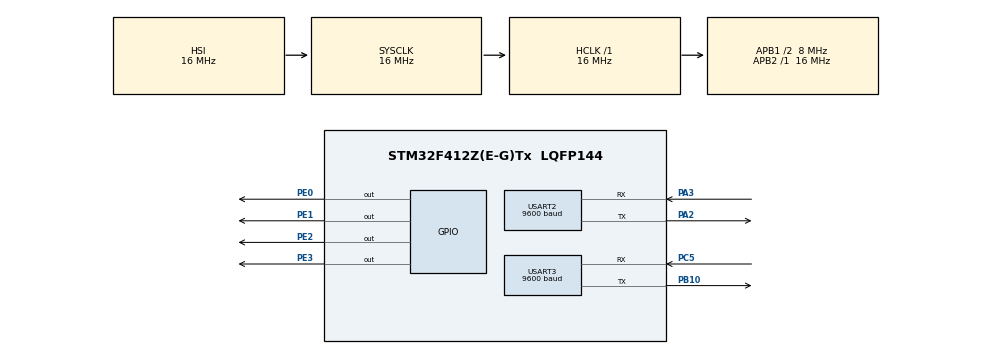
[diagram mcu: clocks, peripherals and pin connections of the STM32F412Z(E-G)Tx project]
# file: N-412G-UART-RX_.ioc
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Dma.Request0=USART3_RX
Dma.USART3_RX.0.Direction=DMA_PERIPH_TO_MEMORY
Dma.USART3_RX.0.FIFOMode=DMA_FIFOMODE_DISABLE
Dma.USART3_RX.0.Instance=DMA1_Stream1
Dma.USART3_RX.0.MemDataAlignment=DMA_MDATAALIGN_BYTE
Dma.USART3_RX.0.MemInc=DMA_MINC_ENABLE
Dma.USART3_RX.0.Mode=DMA_CIRCULAR
Dma.USART3_RX.0.PeriphDataAlignment=DMA_PDATAALIGN_BYTE
Dma.USART3_RX.0.PeriphInc=DMA_PINC_DISABLE
Dma.USART3_RX.0.Priority=DMA_PRIORITY_LOW
Mcu.Family=STM32F4
Mcu.Name=STM32F412Z(E-G)Tx
Mcu.Package=LQFP144
NVIC.DMA1_Stream1_IRQn=true\:0\:0\:false\:false\:true\:false\:true\:true
NVIC.PriorityGroup=NVIC_PRIORITYGROUP_4
NVIC.TIM2_IRQn=true\:0\:0\:false\:false\:true\:true\:true\:true
NVIC.TIM3_IRQn=true\:0\:0\:false\:false\:true\:true\:true\:true
NVIC.USART3_IRQn=true\:0\:0\:false\:false\:true\:true\:true\:true
PA13.Mode=Serial_Wire
PA13.Signal=SYS_JTMS-SWDIO
PA14.Mode=Serial_Wire
PA14.Signal=SYS_JTCK-SWCLK
PA2.Mode=Asynchronous
PA2.Signal=USART2_TX
PA3.Mode=Asynchronous
PA3.Signal=USART2_RX
PB10.Mode=Asynchronous
PB10.Signal=USART3_TX
PC5.Mode=Asynchronous
PC5.Signal=USART3_RX
PE0.GPIO_ModeDefaultOutputPP=GPIO_MODE_OUTPUT_OD
PE0.GPIO_PuPd=GPIO_NOPULL
PE0.PinState=GPIO_PIN_SET
PE0.Signal=GPIO_Output
PE1.GPIO_ModeDefaultOutputPP=GPIO_MODE_OUTPUT_OD
PE1.GPIO_PuPd=GPIO_NOPULL
PE1.PinState=GPIO_PIN_SET
PE1.Signal=GPIO_Output
PE2.GPIO_ModeDefaultOutputPP=GPIO_MODE_OUTPUT_OD
PE2.GPIO_PuPd=GPIO_NOPULL
PE2.PinState=GPIO_PIN_SET
PE2.Signal=GPIO_Output
PE3.GPIO_ModeDefaultOutputPP=GPIO_MODE_OUTPUT_OD
PE3.GPIO_PuPd=GPIO_NOPULL
PE3.PinState=GPIO_PIN_SET
PE3.Signal=GPIO_Output
ProjectManager.HeapSize=0x200
ProjectManager.StackSize=0x400
ProjectManager.TargetToolchain=STM32CubeIDE
RCC.48MHZClocksFreq_Value=48000000
RCC.AHBFreq_Value=16000000
RCC.APB1CLKDivider=RCC_HCLK_DIV2
RCC.APB1Freq_Value=8000000
RCC.APB1TimFreq_Value=16000000
RCC.APB2Freq_Value=16000000
RCC.APB2TimFreq_Value=16000000
RCC.CortexFreq_Value=16000000
RCC.HCLKFreq_Value=16000000
RCC.HSE_VALUE=8000000
RCC.HSI_VALUE=16000000
RCC.I2S1CLockSelection=RCC_I2SAPB1CLKSOURCE_PLLSRC
RCC.PLLI2SM=8
RCC.PLLI2SN=50
RCC.PLLM=8
RCC.PLLN=72
RCC.PLLQ=3
RCC.SDIOCLockSelection=RCC_SDIOCLKSOURCE_SYSCLK
RCC.SYSCLKFreq_VALUE=16000000
RCC.USBFreq_Value=48000000
RCC.VCOOutputFreq_Value=144000000
TIM10.Period=1001-1
TIM10.Prescaler=16000
TIM2.Period=1001-1
TIM2.Prescaler=16000
TIM3.Period=10001-1
TIM3.Prescaler=16000
USART2.BaudRate=9600
USART2.VirtualMode=VM_ASYNC
USART3.BaudRate=9600
USART3.VirtualMode=VM_ASYNC
VP_TIM10_VS_ClockSourceINT.Mode=Enable_Timer
VP_TIM2_VS_ClockSourceINT.Mode=Internal
VP_TIM3_VS_ClockSourceINT.Mode=Internal
board=STM32F412G-DISCO

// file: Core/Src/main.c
/* USER CODE BEGIN Header */
/**
  ******************************************************************************
  * @file           : main.c
  * @brief          : Main program body
  ******************************************************************************
  * @attention
  *
  * Copyright (c) 2024 STMicroelectronics.
  * All rights reserved.
  *
  * This software is licensed under terms that can be found in the LICENSE file
  * in the root directory of this software component.
  * If no LICENSE file comes with this software, it is provided AS-IS.
  *
  ******************************************************************************
  */
/* USER CODE END Header */
#include "main.h"

/* USER CODE BEGIN Includes */
#include <stdbool.h>
#include <stdio.h>

sensor_status_handle_TypeDef sensor_handle = { 0,0,0,0,0,0,0,0,0,0 };

// Remove Key Characters from received bytes leaving just raw Data.
void removeChar(char *str, char garbage) {

    char *src, *dst;
    for (src = dst = str; *src != '\0'; src++) {
        *dst = *src;
        if (*dst != garbage) dst++;
    }
    *dst = '\0';
}

void removeString (char text[], int index, int rm_length)
{
    int i;

    for ( i = 0; i < index; ++i )
        if ( text[i] == '\0' )
            return;

    for ( ; i < index + rm_length; ++i )
        if ( text[i] == '\0' ) {
            text[index] = '\0';
            return;
        }

    do {
        text[i - rm_length] = text[i];
    } while ( text[i++] != '\0' );
}
/* USER CODE END Includes */

/* USER CODE BEGIN PD */
UART_HandleTypeDef UartHandle;
__IO ITStatus UartReady = RESET;
/* USER CODE END PD */

TIM_HandleTypeDef htim2;
TIM_HandleTypeDef htim3;
TIM_HandleTypeDef htim10;

UART_HandleTypeDef huart2;
UART_HandleTypeDef huart3;
DMA_HandleTypeDef hdma_usart3_rx;

void SystemClock_Config(void);
static void MX_GPIO_Init(void);
static void MX_DMA_Init(void);
static void MX_TIM2_Init(void);
static void MX_TIM3_Init(void);
static void MX_USART3_UART_Init(void);
static void MX_USART2_UART_Init(void);
static void MX_TIM10_Init(void);
/* USER CODE BEGIN PFP */

char buffer[11] = {0};
uint8_t reception_complete = 0;
bool Rx1 = false;
bool Rx2 = false;
bool Rx3 = false;
bool Rx4 = false;
bool Rx5 = false;
bool Rx6 = false;
bool Rx7 = false;
bool Rx8 = false;
bool Rx9 = false;
bool Rx10 = false;

//Timers
uint8_t Timer2Int = 0; // 1 second timer
uint8_t Timer3Int = 0; // 10 second timer
uint16_t Timer10 = 0; // 1 Second Timeout Timer
uint16_t RXcount = 0; // RX packet count
/* USER CODE END PFP */

/* USER CODE BEGIN 0 */

void RXdata(void)
{
	if((reception_complete == 1) && (Timer10 < 500 ))
	{
	 // Sensor 1
	 if (strncmp(buffer, "SENS01", 6) == 0)
		  {
		  removeString (buffer, 0, 6);
		  sensor_handle.Sensor1= atoi(buffer);
		  Rx1 = true;
		  }

	 // Sensor 2
	 if (strncmp(buffer, "SENS02", 6) == 0)
		 {
		  // Subtract the 6 start chars from string
		  removeString (buffer, 0, 6);
		  sensor_handle.Sensor2= atoi(buffer);
		  Rx2 = true;
	     }

	 // Sensor 3
	 if (strncmp(buffer, "SENS03", 6) == 0)
		 {
		  // Subtract the 6 start chars from string
		  removeString (buffer, 0, 6);
		  sensor_handle.Sensor3= atoi(buffer);
		  Rx3 = true;
	     }

	 // Sensor 4
	 if (strncmp(buffer, "SENS04", 6) == 0)
		 {
		  // Subtract the 6 start chars from string
		  removeString (buffer, 0, 6);
		  sensor_handle.Sensor4= atoi(buffer);
		  Rx4 = true;
	     }

	 // Sensor 5
	 if (strncmp(buffer, "SENS05", 6) == 0)
		 {
		  // Subtract the 6 start chars from string
		  removeString (buffer, 0, 6);
		  sensor_handle.Sensor5= atoi(buffer);
		  Rx5 = true;
	     }

	 // Sensor 6
	 if (strncmp(buffer, "SENS06", 6) == 0)
		 {
		  // Subtract the 6 start chars from string
		  removeString (buffer, 0, 6);
		  sensor_handle.Sensor6= atoi(buffer);
		  Rx6 = true;
	     }

	 // Sensor 7
	 if (strncmp(buffer, "SENS07", 6) == 0)
		 {
		  // Subtract the 6 start chars from string
		  removeString (buffer, 0, 6);
		  sensor_handle.Sensor7= atoi(buffer);
		  Rx7 = true;
	     }

	 // Sensor 8
	 if (strncmp(buffer, "SENS08", 6) == 0)
		 {
		  // Subtract the 6 start chars from string
		  removeString (buffer, 0, 6);
		  sensor_handle.Sensor8= atoi(buffer);
		  Rx8 = true;
	     }

	 // Sensor 9
	if (strncmp(buffer, "SENS09", 6) == 0)
		 {
		 // Subtract the 6 start chars from string
		 removeString (buffer, 0, 6);
		 sensor_handle.Sensor9= atoi(buffer);
		 Rx9 = true;
		 }

	// Sensor 10
	if (strncmp(buffer, "SENS10", 6) == 0)
		 {
		 // Subtract the 6 start chars from string
		 removeString (buffer, 0, 6);
		 sensor_handle.Sensor10= atoi(buffer);
		 Rx10 = true;
		 }
	// if all packets receive have failed reset the UART irq
	if ((Rx1==0) & (Rx2==0) & (Rx3==0) & (Rx4==0) & (Rx5==0) && (Rx6==0) && (Rx7==0) && (Rx8==0) && (Rx9==0) && (Rx10==0))
	{
	HAL_UART_Transmit_IT(&huart2,  "Missed RX", sizeof"Missed RX");
	HAL_Delay(1);
	__disable_irq();
	HAL_UART_AbortReceive_IT(&huart3);
	huart3.RxState =  HAL_UART_STATE_READY;
	__enable_irq();
	}
	// reset RX packet flags
	 Rx1 = false;
	 Rx2 = false;
	 Rx3 = false;
	 Rx4 = false;
	 Rx5 = false;
	 Rx6 = false;
	 Rx7 = false;
	 Rx8 = false;
	 Rx9 = false;
	 Rx10 = false;
	}
 reception_complete = 0;
}

void SensorStatus (void)
{
	if(Timer2Int ==1)
	{
		{
		char buffer1[200] = {0};
		snprintf(buffer1, sizeof(buffer1), "S1 %d \n, S2 %d \n, S3 %d \n, S4 %d \n, S5 %d \n, S6 %d \n, S7 %d \n, S8 %d \n, S9 %d \n, S10 %d \n", sensor_handle.Sensor1,sensor_handle.Sensor2,sensor_handle.Sensor3,sensor_handle.Sensor4,sensor_handle.Sensor5,sensor_handle.Sensor6,sensor_handle.Sensor7,sensor_handle.Sensor8,sensor_handle.Sensor9,sensor_handle.Sensor10);
	    HAL_UART_Transmit_IT(&huart2,  buffer1, strlen(buffer1));
	}

	Timer2Int = 0;
	}

}

void ErrorHandler(void)
{
	Timer10 = __HAL_TIM_GET_COUNTER(&htim10);
	if (Timer10 > 500)
	{
		HAL_UART_Transmit(&huart2,  "No Connection", sizeof"No Connection", 100);
		sensor_handle.Sensor1 = 0;
		sensor_handle.Sensor2 = 0;
		sensor_handle.Sensor3 = 0;
		sensor_handle.Sensor4 = 0;
		sensor_handle.Sensor5 = 0;
		sensor_handle.Sensor6 = 0;
		sensor_handle.Sensor7 = 0;
		sensor_handle.Sensor8 = 0;
		sensor_handle.Sensor9 = 0;
		sensor_handle.Sensor10 = 0;
	}

}

/* USER CODE END 0 */

int main(void)
{

  /* MCU Configuration--------------------------------------------------------*/

  /* Reset of all peripherals, Initializes the Flash interface and the Systick. */
  HAL_Init();

  /* Configure the system clock */
  SystemClock_Config();

  /* Initialize all configured peripherals */
  MX_GPIO_Init();
  MX_DMA_Init();
  MX_TIM2_Init();
  MX_TIM3_Init();
  MX_USART3_UART_Init();
  MX_USART2_UART_Init();
  MX_TIM10_Init();
  /* USER CODE BEGIN 2 */
  HAL_UART_Receive_DMA(&huart3, &buffer, 11);
	 HAL_TIM_Base_Start_IT(&htim2); // start 1 second timer
	 HAL_TIM_Base_Start_IT(&htim3); // start 10 second timer

  /* USER CODE END 2 */

  /* Infinite loop */
  while (1)
  {

    /* USER CODE BEGIN 3 */
	   HAL_TIM_Base_Start(&htim10); // start 10 second timer
	   HAL_UART_Receive_DMA(&huart3, &buffer, 11);

	   // UART Print RX Status
	   HAL_GPIO_WritePin(GPIOE, GPIO_PIN_3, GPIO_PIN_SET);

	 RXdata();
	 SensorStatus();
	 ErrorHandler();

	 // reset UART flag
	 UartReady = RESET;
  }
  /* USER CODE END 3 */
}

void SystemClock_Config(void)
{
  RCC_OscInitTypeDef RCC_OscInitStruct = {0};
  RCC_ClkInitTypeDef RCC_ClkInitStruct = {0};

  /** Configure the main internal regulator output voltage
  */
  __HAL_RCC_PWR_CLK_ENABLE();
  __HAL_PWR_VOLTAGESCALING_CONFIG(PWR_REGULATOR_VOLTAGE_SCALE1);

  /** Initializes the RCC Oscillators according to the specified parameters
  * in the RCC_OscInitTypeDef structure.
  */
  RCC_OscInitStruct.OscillatorType = RCC_OSCILLATORTYPE_HSI;
  RCC_OscInitStruct.HSIState = RCC_HSI_ON;
  RCC_OscInitStruct.HSICalibrationValue = RCC_HSICALIBRATION_DEFAULT;
  RCC_OscInitStruct.PLL.PLLState = RCC_PLL_NONE;
  if (HAL_RCC_OscConfig(&RCC_OscInitStruct) != HAL_OK)
  {
    Error_Handler();
  }

  /** Initializes the CPU, AHB and APB buses clocks
  */
  RCC_ClkInitStruct.ClockType = RCC_CLOCKTYPE_HCLK|RCC_CLOCKTYPE_SYSCLK
                              |RCC_CLOCKTYPE_PCLK1|RCC_CLOCKTYPE_PCLK2;
  RCC_ClkInitStruct.SYSCLKSource = RCC_SYSCLKSOURCE_HSI;
  RCC_ClkInitStruct.AHBCLKDivider = RCC_SYSCLK_DIV1;
  RCC_ClkInitStruct.APB1CLKDivider = RCC_HCLK_DIV2;
  RCC_ClkInitStruct.APB2CLKDivider = RCC_HCLK_DIV1;

  if (HAL_RCC_ClockConfig(&RCC_ClkInitStruct, FLASH_LATENCY_0) != HAL_OK)
  {
    Error_Handler();
  }
}

static void MX_TIM2_Init(void)
{

  TIM_ClockConfigTypeDef sClockSourceConfig = {0};
  TIM_MasterConfigTypeDef sMasterConfig = {0};

  htim2.Instance = TIM2;
  htim2.Init.Prescaler = 16000;
  htim2.Init.CounterMode = TIM_COUNTERMODE_UP;
  htim2.Init.Period = 1001-1;
  htim2.Init.ClockDivision = TIM_CLOCKDIVISION_DIV1;
  htim2.Init.AutoReloadPreload = TIM_AUTORELOAD_PRELOAD_DISABLE;
  if (HAL_TIM_Base_Init(&htim2) != HAL_OK)
  {
    Error_Handler();
  }
  sClockSourceConfig.ClockSource = TIM_CLOCKSOURCE_INTERNAL;
  if (HAL_TIM_ConfigClockSource(&htim2, &sClockSourceConfig) != HAL_OK)
  {
    Error_Handler();
  }
  sMasterConfig.MasterOutputTrigger = TIM_TRGO_RESET;
  sMasterConfig.MasterSlaveMode = TIM_MASTERSLAVEMODE_DISABLE;
  if (HAL_TIMEx_MasterConfigSynchronization(&htim2, &sMasterConfig) != HAL_OK)
  {
    Error_Handler();
  }

}

static void MX_TIM3_Init(void)
{

  TIM_ClockConfigTypeDef sClockSourceConfig = {0};
  TIM_MasterConfigTypeDef sMasterConfig = {0};

  htim3.Instance = TIM3;
  htim3.Init.Prescaler = 16000;
  htim3.Init.CounterMode = TIM_COUNTERMODE_UP;
  htim3.Init.Period = 10001-1;
  htim3.Init.ClockDivision = TIM_CLOCKDIVISION_DIV1;
  htim3.Init.AutoReloadPreload = TIM_AUTORELOAD_PRELOAD_DISABLE;
  if (HAL_TIM_Base_Init(&htim3) != HAL_OK)
  {
    Error_Handler();
  }
  sClockSourceConfig.ClockSource = TIM_CLOCKSOURCE_INTERNAL;
  if (HAL_TIM_ConfigClockSource(&htim3, &sClockSourceConfig) != HAL_OK)
  {
    Error_Handler();
  }
  sMasterConfig.MasterOutputTrigger = TIM_TRGO_RESET;
  sMasterConfig.MasterSlaveMode = TIM_MASTERSLAVEMODE_DISABLE;
  if (HAL_TIMEx_MasterConfigSynchronization(&htim3, &sMasterConfig) != HAL_OK)
  {
    Error_Handler();
  }

}

static void MX_TIM10_Init(void)
{

  htim10.Instance = TIM10;
  htim10.Init.Prescaler = 16000;
  htim10.Init.CounterMode = TIM_COUNTERMODE_UP;
  htim10.Init.Period = 1001-1;
  htim10.Init.ClockDivision = TIM_CLOCKDIVISION_DIV1;
  htim10.Init.AutoReloadPreload = TIM_AUTORELOAD_PRELOAD_DISABLE;
  if (HAL_TIM_Base_Init(&htim10) != HAL_OK)
  {
    Error_Handler();
  }

}

static void MX_USART2_UART_Init(void)
{

  huart2.Instance = USART2;
  huart2.Init.BaudRate = 9600;
  huart2.Init.WordLength = UART_WORDLENGTH_8B;
  huart2.Init.StopBits = UART_STOPBITS_1;
  huart2.Init.Parity = UART_PARITY_NONE;
  huart2.Init.Mode = UART_MODE_TX_RX;
  huart2.Init.HwFlowCtl = UART_HWCONTROL_NONE;
  huart2.Init.OverSampling = UART_OVERSAMPLING_16;
  if (HAL_UART_Init(&huart2) != HAL_OK)
  {
    Error_Handler();
  }

}

static void MX_USART3_UART_Init(void)
{

  huart3.Instance = USART3;
  huart3.Init.BaudRate = 9600;
  huart3.Init.WordLength = UART_WORDLENGTH_8B;
  huart3.Init.StopBits = UART_STOPBITS_1;
  huart3.Init.Parity = UART_PARITY_NONE;
  huart3.Init.Mode = UART_MODE_TX_RX;
  huart3.Init.HwFlowCtl = UART_HWCONTROL_NONE;
  huart3.Init.OverSampling = UART_OVERSAMPLING_16;
  if (HAL_UART_Init(&huart3) != HAL_OK)
  {
    Error_Handler();
  }

}

static void MX_DMA_Init(void)
{

  /* DMA controller clock enable */
  __HAL_RCC_DMA1_CLK_ENABLE();

  /* DMA interrupt init */
  /* DMA1_Stream1_IRQn interrupt configuration */
  HAL_NVIC_SetPriority(DMA1_Stream1_IRQn, 0, 0);
  HAL_NVIC_EnableIRQ(DMA1_Stream1_IRQn);

}

static void MX_GPIO_Init(void)
{
  GPIO_InitTypeDef GPIO_InitStruct = {0};

  /* GPIO Ports Clock Enable */
  __HAL_RCC_GPIOE_CLK_ENABLE();
  __HAL_RCC_GPIOA_CLK_ENABLE();
  __HAL_RCC_GPIOC_CLK_ENABLE();
  __HAL_RCC_GPIOB_CLK_ENABLE();

  /*Configure GPIO pin Output Level */
  HAL_GPIO_WritePin(GPIOE, GPIO_PIN_2|GPIO_PIN_3|GPIO_PIN_0|GPIO_PIN_1, GPIO_PIN_SET);

  /*Configure GPIO pins : PE2 PE3 PE0 PE1 */
  GPIO_InitStruct.Pin = GPIO_PIN_2|GPIO_PIN_3|GPIO_PIN_0|GPIO_PIN_1;
  GPIO_InitStruct.Mode = GPIO_MODE_OUTPUT_OD;
  GPIO_InitStruct.Pull = GPIO_NOPULL;
  GPIO_InitStruct.Speed = GPIO_SPEED_FREQ_LOW;
  HAL_GPIO_Init(GPIOE, &GPIO_InitStruct);

}

/* USER CODE BEGIN 4 */
void HAL_UART_RxCpltCallback(UART_HandleTypeDef *huart)
{
  //if(huart->Instance == huart2.Instance)
  //{
  HAL_UART_Receive_DMA(&huart3, &buffer, 11);
  HAL_UART_Transmit_IT(&huart2,  &buffer, 11);

 /* Set transmission flag: trasfer complete*/
  reception_complete = 1;
  RXcount++;
  HAL_GPIO_WritePin(GPIOE, GPIO_PIN_3, GPIO_PIN_RESET);
  /* Set transmission flag: trasfer complete*/
  UartReady = SET;

  TIM10->CNT &= 0x0; // restart the RX Timeout Counter [0.5S]
 // }
}

void HAL_TIM_PeriodElapsedCallback(TIM_HandleTypeDef *htim)
{
	 if (htim->Instance == TIM2) // 1 second timer
	 {
		 Timer2Int = 1;
	 }

	 if (htim->Instance == TIM3) // 10 second timer
		 {
			 Timer3Int = 1;

		 }

 }

/* USER CODE END 4 */

void Error_Handler(void)
{
  __disable_irq();
  while (1)
  {
  }
}
